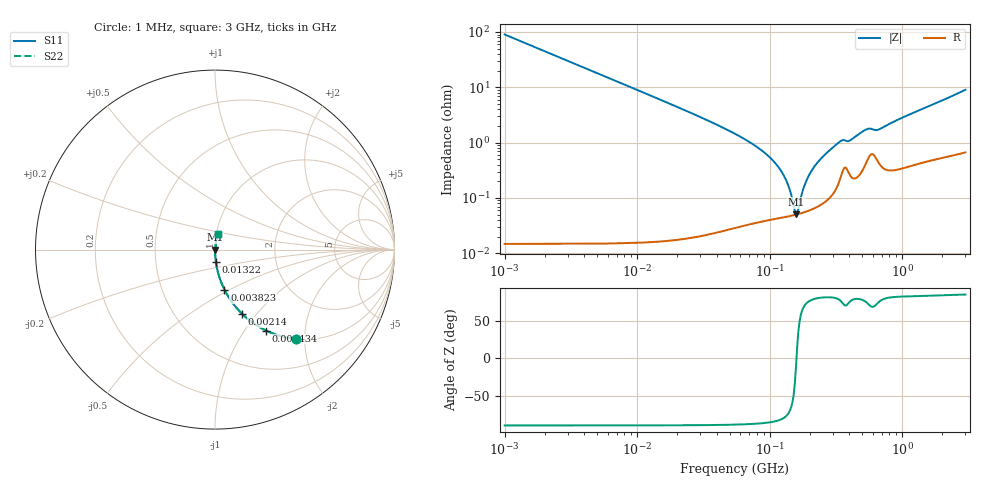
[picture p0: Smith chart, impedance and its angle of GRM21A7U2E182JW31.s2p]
!Murata Part Number: GRM21A7U2E182JW31
!These Parameters are Measured in Series Mode Connection
!Data Generated on Mar 30, 2021
!  o--ll--o
!Port1  Port2
!  o------o
!Operation Temp=25[degC], DC Bias Voltage=0[V]
!Freq. Start=1000[kHz] Stop=3[GHz] 401[Steps]
# Hz S RI R 50
!Freq.(Hz) S11(Real) S11(Imag) S21(Real) S21(Imag) S12(Real) S12(Imag) S22(Real) S22(Imag)
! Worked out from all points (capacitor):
!   401 points, 1 MHz to 3 GHz, reference 50 ohm
!   read as one part in series: C = 1.76 nF near 1.041 MHz
!   lowest |Z| = 50.7 mohm at 158.2 MHz (marker M1)
!   series resonance near 159.4 MHz, so ESL is about 570 pH
!   S11 on the Smith chart (normalised r, x): 1 MHz: 1.00, -1.81; 1.434 MHz: 1.00, -1.26; 2.14 MHz: 1.00, -0.84; 3.823 MHz: 1.00, -0.47; 13.22 MHz: 1.00, -0.14; 3 GHz: 1.01, +0.18
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1000000  0.4491 -0.4973  0.5509 0.4973  0.5509 0.4973  0.4491 -0.4973
1433740  0.2839 -0.4508  0.7161 0.4508  0.7161 0.4508  0.2839 -0.4508
2139570  0.1512 -0.3581  0.8488 0.3581  0.8488 0.3581  0.1512 -0.3581
3823119  0.0529 -0.2235  0.9471 0.2235  0.9471 0.2235  0.0529 -0.2235
1.322427e7  0.00473 -0.0674  0.9953 0.0674  0.9953 0.0674  0.00473 -0.0674
1.461624e7  0.00389 -0.061  0.9961 0.061  0.9961 0.061  0.00389 -0.061
5.477226e7  0.000494 -0.0144  0.9995 0.0144  0.9995 0.0144  0.000494 -0.0144
8.507507e7  0.000425 -0.00752  0.9996 0.00752  0.9996 0.00752  0.000425 -0.00752
1.125904e8  0.000437 -0.00399  0.9996 0.00399  0.9996 0.00399  0.000437 -0.00399
1.348146e8  0.000461 -0.0019  0.9995 0.0019  0.9995 0.0019  0.000461 -0.0019
1.520175e8  0.000488 -0.000538  0.9995 0.000538  0.9995 0.000538  0.000488 -0.000538
1.582265e8  0.000499 -8.46e-05  0.9995 8.46e-05  0.9995 8.46e-05  0.000499 -8.46e-05
1.646891e8  0.000512 0.000369  0.9995 -0.000369  0.9995 -0.000369  0.000512 0.000369
1.857042e8  0.000561 0.00175  0.9994 -0.00175  0.9994 -0.00175  0.000561 0.00175
2.094008e8  0.000633 0.00316  0.9994 -0.00316  0.9994 -0.00316  0.000633 0.00316
2.558035e8  0.000843 0.00572  0.9992 -0.00572  0.9992 -0.00572  0.000843 0.00572
3.453811e8  0.00256 0.0104  0.9974 -0.0104  0.9974 -0.0104  0.00256 0.0104
4.0536e8  0.00264 0.0107  0.9974 -0.0107  0.9974 -0.0107  0.00264 0.0107
5.364635e8  0.00463 0.0166  0.9954 -0.0166  0.9954 -0.0166  0.00463 0.0166
6.553423e8  0.0048 0.0163  0.9952 -0.0163  0.9952 -0.0163  0.0048 0.0163
8.005644e8  0.00359 0.0214  0.9964 -0.0214  0.9964 -0.0214  0.00359 0.0214
3e9  0.0145 0.0882  0.9855 -0.0882  0.9855 -0.0882  0.0145 0.0882
